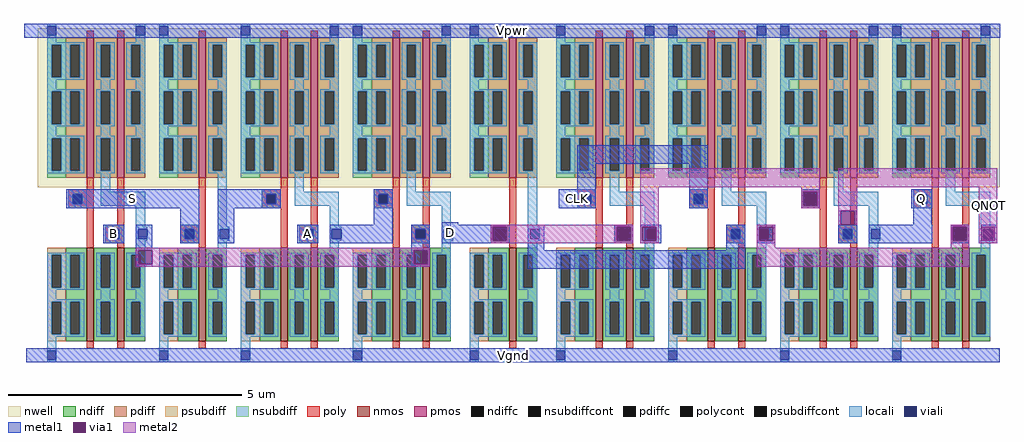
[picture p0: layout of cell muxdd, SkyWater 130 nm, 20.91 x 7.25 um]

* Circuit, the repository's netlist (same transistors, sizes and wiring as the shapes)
* NGSPICE file created from muxdd.ext - technology: sky130A

.subckt nand A OUT Vpwr Vgnd B
X0 OUT A Vpwr Vpwr sky130_fd_pr__pfet_01v8 ad=0.75 pd=3.5 as=1.35 ps=6.9 w=3 l=0.15
X1 OUT B a_30_n300# Vgnd sky130_fd_pr__nfet_01v8 ad=0.9 pd=4.9 as=0.5 ps=2.5 w=2 l=0.15
X2 Vpwr B OUT Vpwr sky130_fd_pr__pfet_01v8 ad=1.35 pd=6.9 as=0.75 ps=3.5 w=3 l=0.15
X3 a_30_n300# A Vgnd Vgnd sky130_fd_pr__nfet_01v8 ad=0.5 pd=2.5 as=0.9 ps=4.9 w=2 l=0.15
.ends

.subckt inverter IN OUT Vpwr Vgnd
X0 OUT IN Vpwr Vpwr sky130_fd_pr__pfet_01v8 ad=1.35 pd=6.9 as=1.35 ps=6.9 w=3 l=0.15
X1 OUT IN Vgnd Vgnd sky130_fd_pr__nfet_01v8 ad=0.9 pd=4.9 as=0.9 ps=4.9 w=2 l=0.15
.ends

.subckt dff CLK QNOT Vpwr D Q Vgnd
Xnand_3 Q QNOT Vpwr Vgnd nand_3/B nand
Xinverter_0 D nand_1/B Vpwr Vgnd inverter
Xnand_0 CLK nand_2/A Vpwr Vgnd D nand
Xnand_1 CLK nand_3/B Vpwr Vgnd nand_1/B nand
Xnand_2 nand_2/A Q Vpwr Vgnd QNOT nand
.ends

.subckt mux S A B Vpwr D inverter_0/OUT nand_1/A inverter_0/IN m1_620_660# Vgnd
Xinverter_0 inverter_0/IN inverter_0/OUT Vpwr Vgnd inverter
Xnand_0 S nand_2/B Vpwr Vgnd B nand
Xnand_1 nand_1/A nand_2/A Vpwr Vgnd A nand
Xnand_2 nand_2/A D Vpwr Vgnd nand_2/B nand
.ends

.subckt muxdd Vpwr Vgnd S B A D QNOT Q CLK
Xdff_0 CLK QNOT Vpwr D Q Vgnd dff
Xmux_0 S A B Vpwr D mux_0/nand_1/A mux_0/nand_1/A S S Vgnd mux
.ends

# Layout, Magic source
magic
tech sky130A
magscale 1 2
<< metal1 >>
rect 1420 1720 5601 1780
rect 1600 990 2170 1070
rect 1760 840 1850 920
rect 2090 840 2170 990
rect 2250 840 2320 1070
rect 3710 990 3870 1070
rect 5220 990 5310 1070
rect 3210 920 3280 930
rect 2590 840 2680 920
rect 3210 840 3500 920
rect 5040 840 5310 920
rect 1430 330 5600 390
<< metal2 >>
rect 4910 1080 5590 1160
rect 5510 840 5590 1080
use dff  dff_0
transform 1 0 3909 0 1 770
box -639 -440 1716 1031
use mux  mux_0
transform 1 0 1479 0 1 330
box -19 0 1836 1471
<< labels >>
flabel metal1 1420 1720 5601 1780 1 FreeSans 400 0 0 0 Vpwr
port 1 n
flabel metal1 1430 330 5600 390 1 FreeSans 400 0 0 0 Vgnd
port 2 n
flabel metal1 1600 990 2170 1070 1 FreeSans 400 0 0 0 S
port 3 n
flabel metal1 1760 840 1850 920 1 FreeSans 400 0 0 0 B
port 4 n
flabel metal1 2590 840 2680 920 1 FreeSans 400 0 0 0 A
port 5 n
flabel metal1 3210 840 3280 930 1 FreeSans 400 0 0 0 D
port 6 n
flabel metal2 5510 840 5590 1160 1 FreeSans 400 0 0 0 QNOT
port 7 n
flabel metal1 5220 990 5310 1070 1 FreeSans 400 0 0 0 Q
port 8 n
flabel metal1 3710 990 3870 1070 1 FreeSans 400 0 0 0 CLK
port 9 n
<< end >>

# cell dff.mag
magic
tech sky130A
<< nwell >>
rect 835 155 845 495
<< metal1 >>
rect -125 475 835 505
rect -60 205 220 245
rect -60 110 -20 205
rect 180 110 220 205
rect 500 75 505 105
rect 535 75 540 105
rect 660 75 700 150
rect -245 70 -205 75
rect -245 40 -240 70
rect -210 40 -205 70
rect -245 35 -205 40
rect -165 20 -130 75
rect 20 70 60 75
rect 20 40 25 70
rect 55 40 60 70
rect 20 35 60 40
rect 75 70 115 75
rect 75 40 80 70
rect 110 40 115 70
rect 75 35 115 40
rect 260 20 300 75
rect 325 70 365 75
rect 325 40 330 70
rect 360 40 365 70
rect 325 35 365 40
rect 500 35 540 75
rect 565 35 700 75
rect -165 -20 300 20
rect -125 -220 835 -190
<< via1 >>
rect 425 115 455 145
rect 505 75 535 105
rect -240 40 -210 70
rect 25 40 55 70
rect 80 40 110 70
rect 330 40 360 70
rect 745 40 775 70
rect 805 40 835 70
<< metal2 >>
rect 75 155 460 195
rect -245 70 60 75
rect -245 40 -240 70
rect -210 40 25 70
rect 55 40 60 70
rect -245 35 60 40
rect 75 70 115 155
rect 420 145 460 155
rect 420 115 425 145
rect 455 115 460 145
rect 420 110 460 115
rect 500 155 835 195
rect 500 105 540 155
rect 500 75 505 105
rect 535 75 540 105
rect 75 40 80 70
rect 110 40 115 70
rect 75 35 115 40
rect 325 70 365 75
rect 325 40 330 70
rect 360 40 365 70
rect 325 25 365 40
rect 740 70 780 75
rect 740 40 745 70
rect 775 40 780 70
rect 740 25 780 40
rect 805 70 835 155
rect 805 35 835 40
rect 325 -15 780 25
use inverter  inverter_0
transform 1 0 -205 0 1 -25
box -105 -195 80 530
use nand  nand_0
transform 1 0 -20 0 1 -25
box -105 -195 145 530
use nand  nand_1
transform 1 0 220 0 1 -25
box -105 -195 145 530
use nand  nand_2
transform 1 0 460 0 1 -25
box -105 -195 145 530
use nand  nand_3
transform 1 0 700 0 1 -25
box -105 -195 145 530
<< labels >>
flabel metal1 -60 110 -20 150 1 FreeSans 200 0 0 0 CLK
port 1 n
flabel metal1 -125 -220 835 -190 1 FreeSans 200 0 0 0 Vgnd
port 4 n
flabel metal1 -125 475 835 505 1 FreeSans 200 0 0 0 Vpwr
port 3 n
flabel metal2 -210 35 25 75 1 FreeSans 200 0 0 0 D
port 5 n
flabel metal2 500 155 835 195 1 FreeSans 200 0 0 0 QNOT
port 2 n
flabel metal1 565 35 700 75 1 FreeSans 200 0 0 0 Q
port 6 n
<< end >>

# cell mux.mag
magic
tech sky130A
<< nwell >>
rect 895 375 905 715
<< metal1 >>
rect 0 695 905 725
rect 65 330 305 370
rect 310 330 345 370
rect 415 330 480 370
rect 720 295 760 330
rect 145 255 185 295
rect 240 270 245 295
rect 210 240 245 270
rect 560 255 600 295
rect 655 255 760 295
rect 865 255 900 295
rect 210 210 215 240
rect 210 205 245 210
rect 800 240 840 255
rect 800 210 805 240
rect 835 210 840 240
rect 800 205 840 210
rect 0 0 905 30
<< via1 >>
rect 215 210 245 240
rect 805 210 835 240
<< metal2 >>
rect 210 240 840 245
rect 210 210 215 240
rect 245 210 805 240
rect 835 210 840 240
rect 210 205 840 210
use inverter  inverter_0
transform 1 0 345 0 1 195
box -105 -195 80 530
use nand  nand_0
transform 1 0 105 0 1 195
box -105 -195 145 530
use nand  nand_1
transform 1 0 520 0 1 195
box -105 -195 145 530
use nand  nand_2
transform 1 0 760 0 1 195
box -105 -195 145 530
<< labels >>
flabel metal1 865 255 900 295 1 FreeSans 200 0 0 0 D
port 6 n
flabel metal1 0 0 905 30 1 FreeSans 200 0 0 0 Vgnd
port 5 n
flabel metal1 0 695 905 725 1 FreeSans 200 0 0 0 Vpwr
port 4 n
flabel metal1 75 340 95 360 1 FreeSans 200 0 0 0 S
port 1 n
flabel metal1 560 255 600 295 1 FreeSans 200 0 0 0 A
port 2 n
flabel metal1 145 255 185 295 1 FreeSans 200 0 0 0 B
port 3 n
<< end >>

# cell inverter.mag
magic
tech sky130A
<< nwell >>
rect -105 180 80 520
<< nmos >>
rect 0 -150 15 50
<< pmos >>
rect 0 200 15 500
<< ndiff >>
rect -45 35 0 50
rect -45 -35 -35 35
rect -15 -35 0 35
rect -45 -65 0 -35
rect -45 -135 -35 -65
rect -15 -135 0 -65
rect -45 -150 0 -135
rect 15 35 60 50
rect 15 -35 30 35
rect 50 -35 60 35
rect 15 -65 60 -35
rect 15 -135 30 -65
rect 50 -135 60 -65
rect 15 -150 60 -135
<< pdiff >>
rect -45 485 0 500
rect -45 415 -35 485
rect -15 415 0 485
rect -45 385 0 415
rect -45 315 -35 385
rect -15 315 0 385
rect -45 285 0 315
rect -45 215 -35 285
rect -15 215 0 285
rect -45 200 0 215
rect 15 485 60 500
rect 15 415 30 485
rect 50 415 60 485
rect 15 385 60 415
rect 15 315 30 385
rect 50 315 60 385
rect 15 285 60 315
rect 15 215 30 285
rect 50 215 60 285
rect 15 200 60 215
<< ndiffc >>
rect -35 -35 -15 35
rect -35 -135 -15 -65
rect 30 -35 50 35
rect 30 -135 50 -65
<< pdiffc >>
rect -35 415 -15 485
rect -35 315 -15 385
rect -35 215 -15 285
rect 30 415 50 485
rect 30 315 50 385
rect 30 215 50 285
<< psubdiff >>
rect -85 35 -45 50
rect -85 -35 -75 35
rect -55 -35 -45 35
rect -85 -65 -45 -35
rect -85 -135 -75 -65
rect -55 -135 -45 -65
rect -85 -150 -45 -135
<< nsubdiff >>
rect -85 485 -45 500
rect -85 415 -75 485
rect -55 415 -45 485
rect -85 385 -45 415
rect -85 315 -75 385
rect -55 315 -45 385
rect -85 285 -45 315
rect -85 215 -75 285
rect -55 215 -45 285
rect -85 200 -45 215
<< psubdiffcont >>
rect -75 -35 -55 35
rect -75 -135 -55 -65
<< nsubdiffcont >>
rect -75 415 -55 485
rect -75 315 -55 385
rect -75 215 -55 285
<< poly >>
rect 0 500 15 515
rect 0 100 15 200
rect -40 90 15 100
rect -40 70 -30 90
rect -10 70 15 90
rect -40 60 15 70
rect 0 50 15 60
rect 0 -165 15 -150
<< polycont >>
rect -30 70 -10 90
<< locali >>
rect -85 525 -65 530
rect -85 490 -65 505
rect -85 485 -5 490
rect -85 415 -75 485
rect -55 415 -35 485
rect -15 415 -5 485
rect -85 410 -5 415
rect 20 485 60 490
rect 20 415 30 485
rect 50 415 60 485
rect 20 410 60 415
rect -85 390 -65 410
rect 40 390 60 410
rect -85 385 -5 390
rect -85 315 -75 385
rect -55 315 -35 385
rect -15 315 -5 385
rect -85 310 -5 315
rect 20 385 60 390
rect 20 315 30 385
rect 50 315 60 385
rect 20 310 60 315
rect -85 290 -65 310
rect 40 290 60 310
rect -85 285 -5 290
rect -85 215 -75 285
rect -55 215 -35 285
rect -15 215 -5 285
rect -85 210 -5 215
rect 20 285 60 290
rect 20 215 30 285
rect 50 215 60 285
rect 20 210 60 215
rect -40 90 0 100
rect -40 70 -30 90
rect -10 70 0 90
rect -40 60 0 70
rect 40 95 60 210
rect 40 90 65 95
rect 40 70 45 90
rect 40 65 65 70
rect 40 40 60 65
rect -85 35 -5 40
rect -85 -35 -75 35
rect -55 -35 -35 35
rect -15 -35 -5 35
rect -85 -40 -5 -35
rect 20 35 60 40
rect 20 -35 30 35
rect 50 -35 60 35
rect 20 -40 60 -35
rect -85 -60 -65 -40
rect 40 -60 60 -40
rect -85 -65 -5 -60
rect -85 -135 -75 -65
rect -55 -135 -35 -65
rect -15 -135 -5 -65
rect -85 -140 -5 -135
rect 20 -65 60 -60
rect 20 -135 30 -65
rect 50 -135 60 -65
rect 20 -140 60 -135
rect -85 -170 -65 -140
rect -85 -195 -65 -190
<< viali >>
rect -85 505 -65 525
rect -30 70 -10 90
rect 45 70 65 90
rect -85 -190 -65 -170
<< metal1 >>
rect -105 525 80 530
rect -105 505 -85 525
rect -65 505 80 525
rect -105 500 80 505
rect -40 90 0 100
rect -40 70 -30 90
rect -10 70 0 90
rect -40 60 0 70
rect 40 90 75 100
rect 40 70 45 90
rect 65 70 75 90
rect 40 60 75 70
rect -105 -170 80 -165
rect -105 -190 -85 -170
rect -65 -190 80 -170
rect -105 -195 80 -190
<< labels >>
flabel viali -85 -190 -65 -170 1 FreeSans 200 0 0 0 Vgnd
port 4 n
flabel metal1 -30 70 -10 90 1 FreeSans 200 0 0 0 IN
port 1 n
flabel viali -85 505 -65 525 1 FreeSans 200 0 0 0 Vpwr
port 3 n
flabel metal1 40 60 75 100 1 FreeSans 200 0 0 0 OUT
port 2 n
<< end >>

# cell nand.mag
magic
tech sky130A
<< nwell >>
rect -105 180 145 520
<< nmos >>
rect 0 -150 15 50
rect 65 -150 80 50
<< pmos >>
rect 0 200 15 500
rect 65 200 80 500
<< ndiff >>
rect -45 35 0 50
rect -45 -35 -35 35
rect -15 -35 0 35
rect -45 -65 0 -35
rect -45 -135 -35 -65
rect -15 -135 0 -65
rect -45 -150 0 -135
rect 15 35 65 50
rect 15 -35 30 35
rect 50 -35 65 35
rect 15 -65 65 -35
rect 15 -135 30 -65
rect 50 -135 65 -65
rect 15 -150 65 -135
rect 80 35 125 50
rect 80 -35 95 35
rect 115 -35 125 35
rect 80 -65 125 -35
rect 80 -135 95 -65
rect 115 -135 125 -65
rect 80 -150 125 -135
<< pdiff >>
rect -45 485 0 500
rect -45 415 -35 485
rect -15 415 0 485
rect -45 385 0 415
rect -45 315 -35 385
rect -15 315 0 385
rect -45 285 0 315
rect -45 215 -35 285
rect -15 215 0 285
rect -45 200 0 215
rect 15 485 65 500
rect 15 415 30 485
rect 50 415 65 485
rect 15 385 65 415
rect 15 315 30 385
rect 50 315 65 385
rect 15 285 65 315
rect 15 215 30 285
rect 50 215 65 285
rect 15 200 65 215
rect 80 485 125 500
rect 80 415 95 485
rect 115 415 125 485
rect 80 385 125 415
rect 80 315 95 385
rect 115 315 125 385
rect 80 285 125 315
rect 80 215 95 285
rect 115 215 125 285
rect 80 200 125 215
<< ndiffc >>
rect -35 -35 -15 35
rect -35 -135 -15 -65
rect 30 -35 50 35
rect 30 -135 50 -65
rect 95 -35 115 35
rect 95 -135 115 -65
<< pdiffc >>
rect -35 415 -15 485
rect -35 315 -15 385
rect -35 215 -15 285
rect 30 415 50 485
rect 30 315 50 385
rect 30 215 50 285
rect 95 415 115 485
rect 95 315 115 385
rect 95 215 115 285
<< psubdiff >>
rect -85 35 -45 50
rect -85 -35 -75 35
rect -55 -35 -45 35
rect -85 -65 -45 -35
rect -85 -135 -75 -65
rect -55 -135 -45 -65
rect -85 -150 -45 -135
<< nsubdiff >>
rect -85 485 -45 500
rect -85 415 -75 485
rect -55 415 -45 485
rect -85 385 -45 415
rect -85 315 -75 385
rect -55 315 -45 385
rect -85 285 -45 315
rect -85 215 -75 285
rect -55 215 -45 285
rect -85 200 -45 215
<< psubdiffcont >>
rect -75 -35 -55 35
rect -75 -135 -55 -65
<< nsubdiffcont >>
rect -75 415 -55 485
rect -75 315 -55 385
rect -75 215 -55 285
<< poly >>
rect 0 500 15 515
rect 65 500 80 515
rect 0 175 15 200
rect -40 165 15 175
rect -40 145 -30 165
rect -10 145 15 165
rect -40 135 15 145
rect 0 50 15 135
rect 65 100 80 200
rect 40 90 80 100
rect 40 70 50 90
rect 70 70 80 90
rect 40 60 80 70
rect 65 50 80 60
rect 0 -165 15 -150
rect 65 -165 80 -150
<< polycont >>
rect -30 145 -10 165
rect 50 70 70 90
<< locali >>
rect -85 525 -65 530
rect -85 490 -65 505
rect 105 525 125 530
rect 105 490 125 505
rect -85 485 -5 490
rect -85 415 -75 485
rect -55 415 -35 485
rect -15 415 -5 485
rect -85 410 -5 415
rect 20 485 60 490
rect 20 415 30 485
rect 50 415 60 485
rect 20 410 60 415
rect 85 485 125 490
rect 85 415 95 485
rect 115 415 125 485
rect 85 410 125 415
rect -85 390 -65 410
rect 30 390 50 410
rect 105 390 125 410
rect -85 385 -5 390
rect -85 315 -75 385
rect -55 315 -35 385
rect -15 315 -5 385
rect -85 310 -5 315
rect 20 385 60 390
rect 20 315 30 385
rect 50 315 60 385
rect 20 310 60 315
rect 85 385 125 390
rect 85 315 95 385
rect 115 315 125 385
rect 85 310 125 315
rect -85 290 -65 310
rect 30 290 50 310
rect 105 290 125 310
rect -85 285 -5 290
rect -85 215 -75 285
rect -55 215 -35 285
rect -15 215 -5 285
rect -85 210 -5 215
rect 20 285 60 290
rect 20 215 30 285
rect 50 215 60 285
rect 20 210 60 215
rect 85 285 125 290
rect 85 215 95 285
rect 115 215 125 285
rect 85 210 125 215
rect -40 165 0 175
rect -40 145 -30 165
rect -10 145 0 165
rect -40 135 0 145
rect 30 170 50 210
rect 30 140 125 170
rect 40 90 80 100
rect 40 70 50 90
rect 70 70 80 90
rect 40 60 80 70
rect 105 95 125 140
rect 105 90 130 95
rect 105 70 110 90
rect 105 65 130 70
rect 105 40 125 65
rect -85 35 -5 40
rect -85 -35 -75 35
rect -55 -35 -35 35
rect -15 -35 -5 35
rect -85 -40 -5 -35
rect 20 35 60 40
rect 20 -35 30 35
rect 50 -35 60 35
rect 20 -40 60 -35
rect 85 35 125 40
rect 85 -35 95 35
rect 115 -35 125 35
rect 85 -40 125 -35
rect -85 -60 -65 -40
rect 30 -60 50 -40
rect 105 -60 125 -40
rect -85 -65 -5 -60
rect -85 -135 -75 -65
rect -55 -135 -35 -65
rect -15 -135 -5 -65
rect -85 -140 -5 -135
rect 20 -65 60 -60
rect 20 -135 30 -65
rect 50 -135 60 -65
rect 20 -140 60 -135
rect 85 -65 125 -60
rect 85 -135 95 -65
rect 115 -135 125 -65
rect 85 -140 125 -135
rect -85 -170 -65 -140
rect -85 -195 -65 -190
<< viali >>
rect -85 505 -65 525
rect 105 505 125 525
rect -30 145 -10 165
rect 50 70 70 90
rect 110 70 130 90
rect -85 -190 -65 -170
<< metal1 >>
rect -105 525 145 530
rect -105 505 -85 525
rect -65 505 105 525
rect 125 505 145 525
rect -105 500 145 505
rect -40 165 0 175
rect -40 145 -30 165
rect -10 145 0 165
rect -40 135 0 145
rect 40 90 80 100
rect 40 70 50 90
rect 70 70 80 90
rect 40 60 80 70
rect 105 90 140 100
rect 105 70 110 90
rect 130 70 140 90
rect 105 60 140 70
rect -105 -170 145 -165
rect -105 -190 -85 -170
rect -65 -190 145 -170
rect -105 -195 145 -190
<< labels >>
flabel viali -85 -190 -65 -170 1 FreeSans 200 0 0 0 Vgnd
port 4 n
flabel viali -85 505 -65 525 1 FreeSans 200 0 0 0 Vpwr
port 3 n
flabel metal1 105 60 140 100 1 FreeSans 200 0 0 0 OUT
port 2 n
flabel metal1 40 60 80 100 1 FreeSans 200 0 0 0 B
port 5 n
flabel metal1 -40 135 0 175 1 FreeSans 200 0 0 0 A
port 1 n
<< end >>
